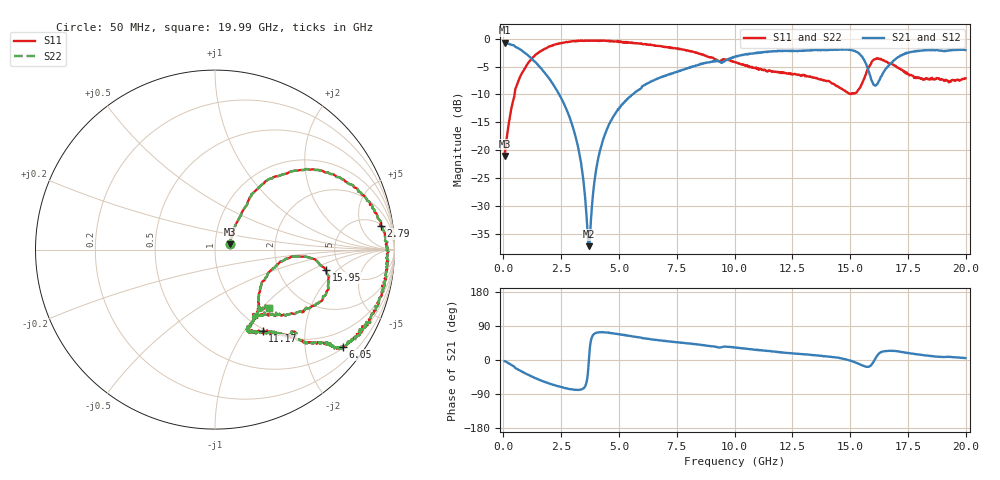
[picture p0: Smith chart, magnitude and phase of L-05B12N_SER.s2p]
! Data Taken on a HP 8720C VNA using a series-through fixture with TRL* de-embedding
#	mhz	s	ma	r	50
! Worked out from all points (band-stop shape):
!   998 points, 50 MHz to 19.99 GHz, reference 50 ohm
!   highest |S21| = -0.70 dB at 50 MHz (marker M1); lowest = -37.2 dB at 3.69 GHz (marker M2)
!   |S21| within 3 dB of the highest: 9.71 GHz to 15.59 GHz (5.884 GHz wide, 46.5 % of centre); 16.95 GHz to end of sweep (the widest 2 of 3)
!   lowest |S11| = -21.0 dB at 50 MHz (marker M3), VSWR 1.20, Z = 59 + j3.59 ohm
!   |S11| at or under -10 dB: start of sweep to 480.3 MHz
!   |S22| runs from -21.0 to -0.3 dB; largest |S21 - S12| = 0
!   S11 on the Smith chart (normalised r, x): 50 MHz: 1.18, +0.07; 2.79 GHz: 6, +12; 6.05 GHz: 0.53, -2.87; 11.17 GHz: 0.97, -1.22; 15.95 GHz: 3.81, -1.42; 19.99 GHz: 1.35, -1.09
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50  0.08893 19.8  0.9225 -3.1  0.9225 -3.1  0.08893 19.8
470  0.304 54.4  0.8663 -17.6  0.8663 -17.6  0.304 54.4
830  0.5028 52.0  0.7746 -31.4  0.7746 -31.4  0.5028 52.0
1570  0.7654 33.8  0.5598 -52.9  0.5598 -52.9  0.7654 33.8
2790  0.9344 8.1  0.216 -75.5  0.216 -75.5  0.9344 8.1
3390  0.9584 -1.6  0.06883 -77.4  0.06883 -77.4  0.9584 -1.6
3690  0.96 -5.6  0.01374 -7.0  0.01374 -7.0  0.96 -5.6
4010  0.9642 -10.4  0.06683 71.7  0.06683 71.7  0.9642 -10.4
4390  0.9574 -16.1  0.1384 72.9  0.1384 72.9  0.9574 -16.1
4950  0.9556 -25.1  0.2332 68.7  0.2332 68.7  0.9556 -25.1
6050  0.8942 -37.3  0.3794 57.6  0.3794 57.6  0.8942 -37.3
6710  0.862 -39.1  0.4421 52.4  0.4421 52.4  0.862 -39.1
10030  0.6173 -50.6  0.6925 33.1  0.6925 33.1  0.6173 -50.6
11170  0.5264 -59.8  0.7507 25.4  0.7507 25.4  0.5264 -59.8
13350  0.4506 -62.1  0.7884 12.8  0.7884 12.8  0.4506 -62.1
15130  0.3217 -29.3  0.7861 -4.2  0.7861 -4.2  0.3217 -29.3
15630  0.4499 -4.9  0.6311 -16.9  0.6311 -16.9  0.4499 -4.9
15950  0.6281 -10.4  0.4164 -10.2  0.4164 -10.2  0.6281 -10.4
16310  0.66 -24.2  0.444 20.1  0.444 20.1  0.66 -24.2
16670  0.6019 -32.7  0.5728 24.1  0.5728 24.1  0.6019 -32.7
18210  0.4346 -58.8  0.7899 12.3  0.7899 12.3  0.4346 -58.8
19990  0.442 -47.2  0.7927 5.1  0.7927 5.1  0.442 -47.2
